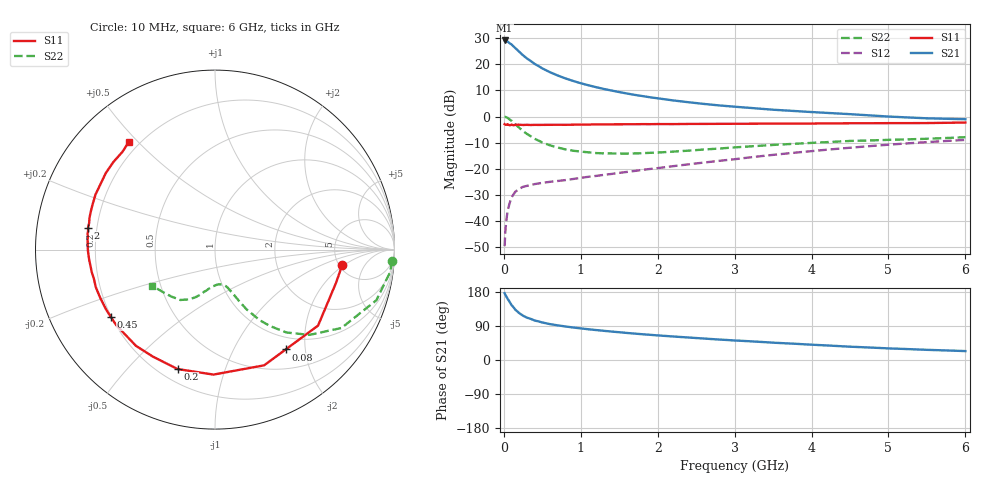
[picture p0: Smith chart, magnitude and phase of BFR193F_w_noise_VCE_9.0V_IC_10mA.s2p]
! Infineon Technologies  Discrete & RF Semiconductors
! BFR193F
! VCE =  9.0 V,  IC =  10 mA
! Common Emitter S-Parameters:  Jan 2017
# GHz  S  MA  R  50
!  f  S11  S21  S12  S22
! GHz  MAG  ANG  MAG  ANG  MAG  ANG  MAG  ANG
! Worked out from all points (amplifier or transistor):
!   77 points, 10 MHz to 6 GHz, reference 50 ohm
!   highest |S21| = 29.1 dB at 10 MHz (marker M1)
!   |S21| within 3 dB of that: start of sweep to 152.2 MHz
!   unconditionally stable (mu >= 1): 1.593 GHz to 2.869 GHz
!   at 130 MHz: K = 0.17, MSG = 28.2 dB, |S12| = -29.6 dB
!   at 2.2 GHz: K = 1.05, MAG = 11.3 dB, |S12| = -19.0 dB
!   at 6 GHz: K = 0.79, MSG = 4.0 dB, |S12| = -9.0 dB
!   lowest NFmin = 0.87 dB at 450 MHz
!   S11 on the Smith chart (normalised r, x): 10 MHz: 5.28, -1.90; 80 MHz: 0.79, -1.64; 200 MHz: 0.27, -0.70; 450 MHz: 0.20, -0.29; 2 GHz: 0.17, +0.08; 6 GHz: 0.16, +0.47
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0.01  0.7135 -7.1  28.59 176.3  0.0033 79.8  0.9869 -3.7
0.02  0.6992 -15.4  28.2 172.0  0.0065 81.4  0.9845 -7.2
0.05  0.7134 -36.4  27.18 161.0  0.0156 73.2  0.9424 -17.4
0.08  0.6816 -54.7  25.03 151.8  0.0231 64.6  0.8677 -25.6
0.1  0.7005 -67.0  24.01 144.8  0.0282 61.4  0.8291 -31.8
0.14  0.6877 -86.0  21.02 135.4  0.0347 54.2  0.7307 -39.8
0.15  0.6964 -90.7  20.38 132.7  0.0364 52.8  0.7087 -42.1
0.2  0.6974 -107.4  17.37 123.7  0.0413 46.4  0.6103 -49.2
0.25  0.6893 -120.1  14.85 116.9  0.0452 43.5  0.5255 -54.2
0.3  0.6938 -129.4  12.95 111.8  0.0471 41.2  0.4647 -57.7
0.4  0.6929 -142.6  10.19 104.2  0.0509 39.3  0.3755 -62.2
0.45  0.6908 -146.9  9.258 101.9  0.0523 39.5  0.347 -63.4
0.6  0.6938 -157.7  7.057 94.7  0.0563 40.8  0.2809 -66.8
0.7  0.6964 -162.7  6.107 91.4  0.0584 42.3  0.2553 -68.6
1.1  0.703 -175.1  3.96 81.1  0.0703 49.8  0.2065 -75.3
1.5  0.7097 177.4  2.939 73.3  0.0835 56.7  0.1952 -83.4
2  0.7178 170.3  2.231 64.9  0.1029 62.8  0.2044 -93.3
2.1  0.7171 169.2  2.132 63.5  0.1075 63.9  0.2086 -94.8
3.1  0.7275 159.1  1.502 50.5  0.1587 70.1  0.2623 -107.8
4.1  0.736 149.2  1.196 39.4  0.2245 70.7  0.3181 -119.0
5.1  0.7474 138.0  0.984 29.9  0.2959 66.9  0.3607 -134.9
6  0.7685 128.7  0.888 23.5  0.3566 61.7  0.4028 -149.9
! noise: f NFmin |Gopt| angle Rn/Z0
0.45  0.87  0.25  139  0.07
0.9  1  0.38  152  0.07
1.9  1.7  0.59  -176  0.06
2.4  2.05  0.63  -165  0.08
